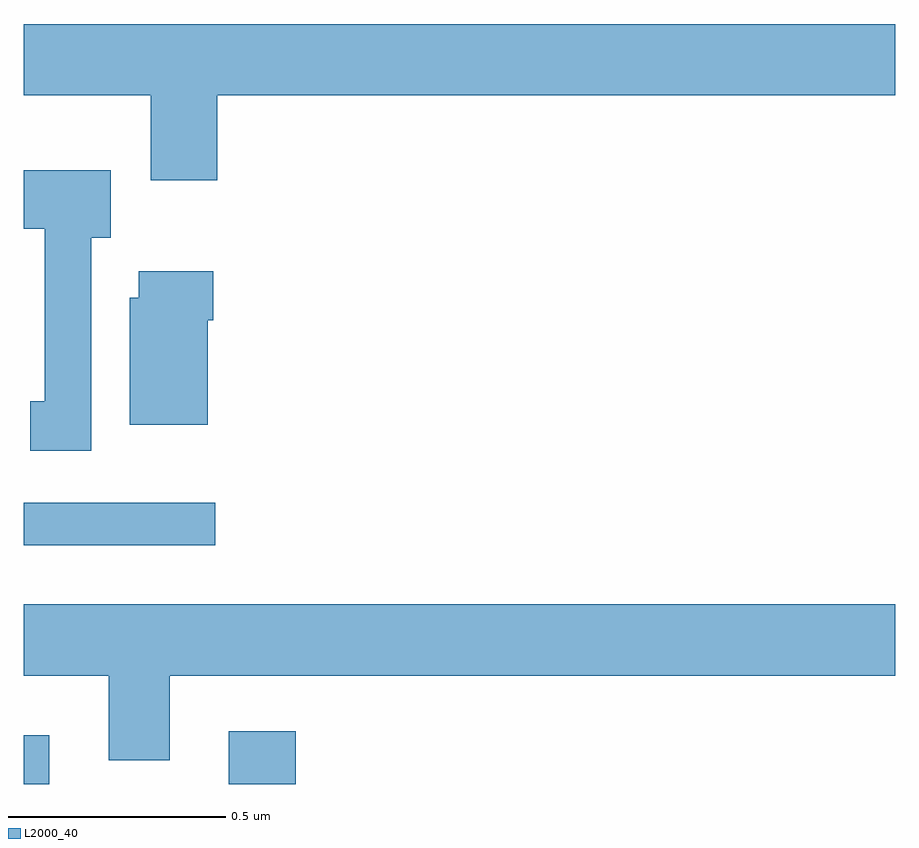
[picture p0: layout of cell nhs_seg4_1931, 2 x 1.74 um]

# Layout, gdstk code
import gdstk
lib = gdstk.Library(unit=1e-6, precision=1e-09)
def R(c, l, rs):  # rectangles x0, y0, x1, y1
    for r in rs: c.add(gdstk.rectangle(r[:2], r[2:], *l))
def P(c, l, *ps):  # polygons
    for p in ps: c.add(gdstk.Polygon(p, *l))
L2000_40 = (2000, 40)

nhs_seg4_1931 = lib.new_cell('nhs_seg4_1931')
R(nhs_seg4_1931, L2000_40, [(134,801.9,134.059,802.012), (134.471,801.9,134.624,802.021), (134,802.448,134.44,802.545)])
P(nhs_seg4_1931, L2000_40, [(134.444,803.48),(136,803.48),(136,803.644),(134,803.644),(134,803.48),(134.291,803.48),(134.291,803.286),(134.444,803.286)],
  [(134.155,803.154),(134.2,803.154),(134.2,803.308),(134,803.308),(134,803.174),(134.048,803.174),(134.048,802.778),(134.015,802.778),(134.015,802.665),(134.155,802.665)],
  [(134.422,802.964),(134.435,802.964),(134.435,803.077),(134.264,803.077),(134.264,803.016),(134.243,803.016),(134.243,802.724),(134.422,802.724)],
  [(134.335,802.148),(136,802.148),(136,802.312),(134,802.312),(134,802.148),(134.195,802.148),(134.195,801.954),(134.335,801.954)])

lib.write_gds('nhs_seg4_1931.gds')
